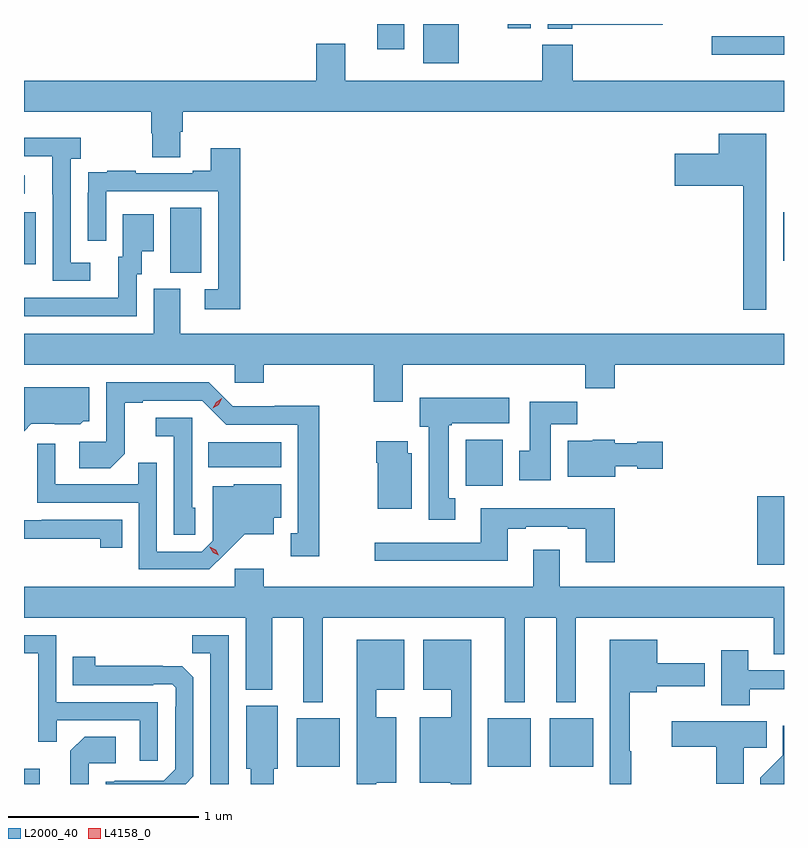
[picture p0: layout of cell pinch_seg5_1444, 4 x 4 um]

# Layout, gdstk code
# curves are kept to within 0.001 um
import gdstk
lib = gdstk.Library(unit=1e-6, precision=1e-09)
def R(c, l, rs):  # rectangles x0, y0, x1, y1
    for r in rs: c.add(gdstk.rectangle(r[:2], r[2:], *l))
def P(c, l, *ps):  # polygons
    for p in ps: c.add(gdstk.Polygon(p, *l))
L2000_40 = (2000, 40)
L4158_0 = (4158, 0)

pinch_seg5_1444 = lib.new_cell('pinch_seg5_1444')
R(pinch_seg5_1444, L2000_40, [(135.51,886.522,135.592,886.603), (136.946,886.613,137.173,886.867), (137.951,886.613,138.178,886.867), (138.278,886.613,138.505,886.867), (139.37,887.675,139.51,888.037), (137.834,888.092,138.031,888.334), (136.48,888.188,136.864,888.322), (136.28,889.213,136.444,889.556), (135.51,889.257,135.571,889.531), (139.505,889.277,139.51,889.531), (135.51,889.629,135.514,889.725), (137.612,890.315,137.797,890.522), (139.131,890.36,139.51,890.457), (137.369,890.388,137.512,890.522), (138.056,890.499,138.178,890.522)])
P(pinch_seg5_1444, L2000_40, [(138.396,890.518),(138.871,890.518),(138.871,890.522),(138.266,890.522),(138.266,890.498),(138.396,890.498)],
  [(136.333,889.954),(136.346,889.954),(136.346,890.06),(139.51,890.06),(139.51,890.224),(138.398,890.224),(138.398,890.413),(138.238,890.413),(138.238,890.224),(137.2,890.224),(137.2,890.419),(137.048,890.419),(137.048,890.224),(135.51,890.224),(135.51,890.06),(136.181,890.06),(136.181,889.947),(136.186,889.947),(136.186,889.822),(136.333,889.822)],
  [(139.417,889.945),(139.166,889.945),(139.166,889.84),(138.936,889.84),(138.936,889.67),(139.296,889.67),(139.296,889.017),(139.417,889.017)],
  [(135.859,889.266),(135.756,889.266),(135.756,889.814),(135.808,889.814),(135.808,889.924),(135.51,889.924),(135.51,889.827),(135.659,889.827),(135.659,889.627),(135.66,889.627),(135.66,889.17),(135.859,889.17)],
  [(136.649,889.867),(136.493,889.867),(136.493,889.75),(136.397,889.75),(136.397,889.737),(136.097,889.737),(136.097,889.75),(135.949,889.75),(135.949,889.743),(135.847,889.743),(135.847,889.634),(135.846,889.634),(135.846,889.38),(135.942,889.38),(135.942,889.641),(136.533,889.641),(136.533,889.125),(136.461,889.125),(136.461,889.02),(136.649,889.02)],
  [(136.104,889.206),(136.129,889.206),(136.129,889.325),(136.192,889.325),(136.192,889.522),(136.031,889.522),(136.031,889.296),(136.007,889.296),(136.007,889.08),(135.523,889.08),(135.523,889.081),(135.51,889.081),(135.51,888.984),(136.104,888.984)],
  [(136.333,889.128),(136.193,889.128),(136.193,888.892),(135.51,888.892),(135.51,888.728),(136.62,888.728),(136.62,888.635),(136.772,888.635),(136.772,888.728),(137.351,888.728),(137.351,888.534),(137.503,888.534),(137.503,888.728),(138.463,888.728),(138.463,888.604),(138.62,888.604),(138.62,888.728),(139.51,888.728),(139.51,888.892),(136.333,888.892)],
  [(137.063,888.512),(136.83,888.512),(136.83,888.51),(136.608,888.51),(136.482,888.636),(135.942,888.636),(135.942,888.324),(135.801,888.324),(135.801,888.184),(135.965,888.184),(136.041,888.26),(136.041,888.528),(136.135,888.528),(136.135,888.54),(136.449,888.54),(136.575,888.414),(136.952,888.414),(136.952,887.841),(136.913,887.841),(136.913,887.721),(137.063,887.721)],
  [(135.549,888.417),(135.672,888.417),(135.672,888.416),(135.806,888.416),(135.822,888.432),(135.853,888.432),(135.853,888.61),(135.51,888.61),(135.51,888.378)],
  [(137.779,888.026),(137.746,888.026),(137.746,888.409),(137.76,888.409),(137.76,888.422),(138.064,888.422),(138.064,888.556),(137.594,888.556),(137.594,888.402),(137.639,888.402),(137.639,887.913),(137.779,887.913)],
  [(138.283,888.416),(138.422,888.416),(138.422,888.535),(138.173,888.535),(138.173,888.276),(138.116,888.276),(138.116,888.12),(138.283,888.12)],
  [(136.41,887.976),(136.395,887.976),(136.395,888.45),(136.203,888.45),(136.203,888.353),(136.299,888.353),(136.299,887.833),(136.41,887.833)],
  [(138.622,888.194),(138.738,888.194),(138.738,888.182),(138.871,888.182),(138.871,888.324),(138.738,888.324),(138.738,888.316),(138.618,888.316),(138.618,888.334),(138.504,888.334),(138.504,888.328),(138.371,888.328),(138.371,888.14),(138.622,888.14)],
  [(137.551,888.264),(137.53,888.264),(137.53,888.325),(137.365,888.325),(137.365,888.212),(137.372,888.212),(137.372,887.972),(137.551,887.972)],
  [(136.57,887.735),(136.673,887.837),(136.825,887.837),(136.825,887.924),(136.864,887.924),(136.864,888.1),(136.614,888.1),(136.614,888.088),(136.503,888.088),(136.503,887.802),(136.446,887.745),(136.209,887.745),(136.209,888.212),(136.111,888.212),(136.111,888.099),(135.675,888.099),(135.675,888.313),(135.579,888.313),(135.579,888.003),(136.113,888.003),(136.113,887.652),(136.486,887.652)],
  [(138.62,887.974),(137.915,887.974),(137.915,887.793),(137.355,887.793),(137.355,887.696),(138.055,887.696),(138.055,887.865),(138.151,887.865),(138.151,887.877),(138.371,887.877),(138.371,887.865),(138.467,887.865),(138.467,887.688),(138.62,887.688)],
  [(136.028,887.913),(135.604,887.913),(135.604,887.91),(135.51,887.91),(135.51,887.813),(135.553,887.813),(135.553,887.812),(135.91,887.812),(135.91,887.766),(136.028,887.766)],
  [(137.083,887.396),(138.041,887.396),(138.041,886.952),(138.145,886.952),(138.145,887.396),(138.311,887.396),(138.311,886.952),(138.415,886.952),(138.415,887.396),(139.457,887.396),(139.457,887.206),(139.51,887.206),(139.51,887.56),(138.331,887.56),(138.331,887.755),(138.191,887.755),(138.191,887.56),(136.772,887.56),(136.772,887.656),(136.62,887.656),(136.62,887.56),(135.51,887.56),(135.51,887.396),(136.676,887.396),(136.676,887.018),(136.816,887.018),(136.816,887.396),(136.979,887.396),(136.979,886.952),(137.083,886.952)],
  [(136.587,887.304),(136.396,887.304),(136.396,887.209),(136.491,887.209),(136.491,886.522),(136.587,886.522)],
  [(136.215,886.953),(135.681,886.953),(135.681,887.304),(135.51,887.304),(135.51,887.211),(135.585,887.211),(135.585,886.744),(135.683,886.744),(135.683,886.857),(136.119,886.857),(136.119,886.644),(136.215,886.644)],
  [(137.863,887.281),(137.612,887.281),(137.612,887.018),(137.759,887.018),(137.759,886.873),(137.594,886.873),(137.594,886.529),(137.757,886.529),(137.757,886.522),(137.863,886.522)],
  [(137.365,886.529),(137.47,886.529),(137.47,886.873),(137.365,886.873),(137.365,887.018),(137.512,887.018),(137.512,887.281),(137.261,887.281),(137.261,886.522),(137.365,886.522)],
  [(138.707,886.694),(138.697,886.694),(138.697,887.006),(138.84,887.006),(138.84,887.036),(139.093,887.036),(139.093,887.158),(138.844,887.158),(138.844,887.281),(138.593,887.281),(138.593,886.522),(138.707,886.522)],
  [(139.329,887.022),(139.51,887.022),(139.51,887.121),(139.321,887.121),(139.321,887.227),(139.181,887.227),(139.181,886.937),(139.329,886.937)],
  [(136.401,886.562),(136.401,887.084),(136.342,887.143),(135.885,887.144),(135.885,887.191),(135.766,887.191),(135.766,887.043),(136.19,887.043),(136.19,887.046),(136.29,887.046),(136.308,887.028),(136.308,886.928),(136.305,886.928),(136.305,886.599),(136.245,886.539),(135.988,886.54),(135.982,886.534),(135.941,886.534),(135.941,886.522),(136.361,886.522)],
  [(136.825,886.602),(136.846,886.602),(136.846,886.933),(136.679,886.933),(136.679,886.602),(136.703,886.602),(136.703,886.522),(136.825,886.522)],
  [(139.297,886.714),(139.418,886.714),(139.418,886.852),(138.918,886.852),(138.918,886.718),(139.153,886.718),(139.153,886.523),(139.297,886.523)],
  [(139.51,886.828),(139.503,886.828),(139.503,886.673),(139.384,886.554),(139.384,886.522),(139.51,886.522)],
  [(135.852,886.632),(135.994,886.632),(135.994,886.772),(135.829,886.772),(135.753,886.696),(135.753,886.522),(135.852,886.522)])
P(pinch_seg5_1444, L4158_0, [(136.504,888.499),(136.504,888.499),(136.521,888.532),(136.552,888.551),(136.552,888.551),(136.552,888.551),(136.535,888.518),(136.504,888.499)],
  [(136.536,887.726),(136.505,887.74),(136.487,887.769),(136.487,887.77),(136.487,887.77),(136.518,887.755),(136.536,887.726),(136.536,887.726)])

lib.write_gds('pinch_seg5_1444.gds')
